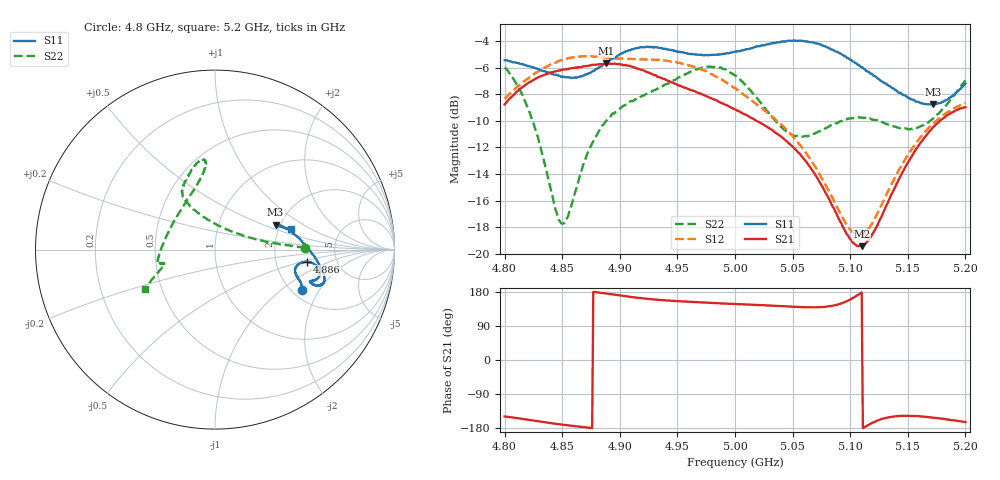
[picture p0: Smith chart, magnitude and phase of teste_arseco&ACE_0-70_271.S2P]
! Network Analyzer HP8722D
! Hewlett-Packard
! Data name: Linha & Wilkinson
! Saver's name: Rodrigo Anjos
! Comments: Teste da utilização de aquisição
! continua pelo VNA HP8722D
! Time and date: 8/5/2025 15:01
!  Frequency  S11  S21  S12  S22
# HZ  S  MA R 50
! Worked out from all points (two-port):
!   401 points, 4.8 GHz to 5.2 GHz, reference 50 ohm
!   highest |S21| = -5.68 dB at 4.888 GHz (marker M1); lowest = -19.4 dB at 5.11 GHz (marker M2)
!   |S21| within 3 dB of the highest: 4.801 GHz to 4.989 GHz (188 MHz wide, 3.84 % of centre)
!   lowest |S11| = -8.8 dB at 5.172 GHz (marker M3), VSWR 2.15, Z = 94.6 + j30.2 ohm
!   |S11| at or under -10 dB: nowhere
!   |S22| runs from -17.7 to -5.9 dB; largest |S21 - S12| = 1.1
!   S11 on the Smith chart (normalised r, x): 4.8 GHz: 2.24, -1.43; 4.886 GHz: 3.01, -0.56; 5.2 GHz: 2.33, +0.65
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4.8e9  0.5345 -25.2  0.3647 -149.0  0.3835 10.5  0.5018 1.3
4.812e9  0.5215 -22.3  0.4119 -153.8  0.4282 8.9  0.4229 2.7
4.823e9  0.505 -20.5  0.4454 -158.9  0.4656 7.0  0.3274 6.3
4.848e9  0.4665 -16.1  0.4889 -169.8  0.5327 3.1  0.1327 55.1
4.854e9  0.4612 -14.4  0.4947 -172.1  0.5417 2.3  0.1357 80.7
4.867e9  0.4653 -10.8  0.5042 -176.7  0.5518 0.3  0.2071 111.8
4.886e9  0.516 -7.6  0.5165 176.5  0.5486 -1.0  0.3066 121.0
4.888e9  0.5205 -7.7  0.5199 175.4  0.5473 -1.0  0.3159 121.0
4.912e9  0.5902 -10.9  0.5039 165.6  0.5395 -0.4  0.3768 119.0
4.934e9  0.5957 -15.5  0.4621 158.7  0.5374 -1.5  0.4203 112.5
4.974e9  0.5589 -18.4  0.3937 151.6  0.4866 -5.3  0.5021 99.3
5e9  0.5764 -19.3  0.3494 147.5  0.4209 -5.3  0.4698 96.4
5.019e9  0.6033 -19.7  0.316 145.2  0.364 -2.6  0.3862 104.0
5.044e9  0.6295 -17.7  0.2672 141.5  0.2943 2.9  0.2897 131.5
5.067e9  0.6251 -13.4  0.2065 139.0  0.222 9.4  0.2811 164.5
5.098e9  0.5442 -2.9  0.1172 156.7  0.1268 37.5  0.3227 -170.5
5.11e9  0.5038 2.9  0.1068 178.1  0.1176 61.5  0.3258 -167.3
5.119e9  0.4747 7.6  0.1181 -165.9  0.1298 78.5  0.3198 -166.2
5.134e9  0.4278 14.8  0.1604 -150.9  0.1759 94.8  0.3062 -166.0
5.152e9  0.383 20.9  0.2275 -147.5  0.2422 101.3  0.2942 -164.5
5.172e9  0.3647 22.3  0.2992 -152.0  0.309 102.5  0.3228 -160.0
5.2e9  0.4366 14.9  0.3559 -163.7  0.369 102.7  0.4492 -150.6
